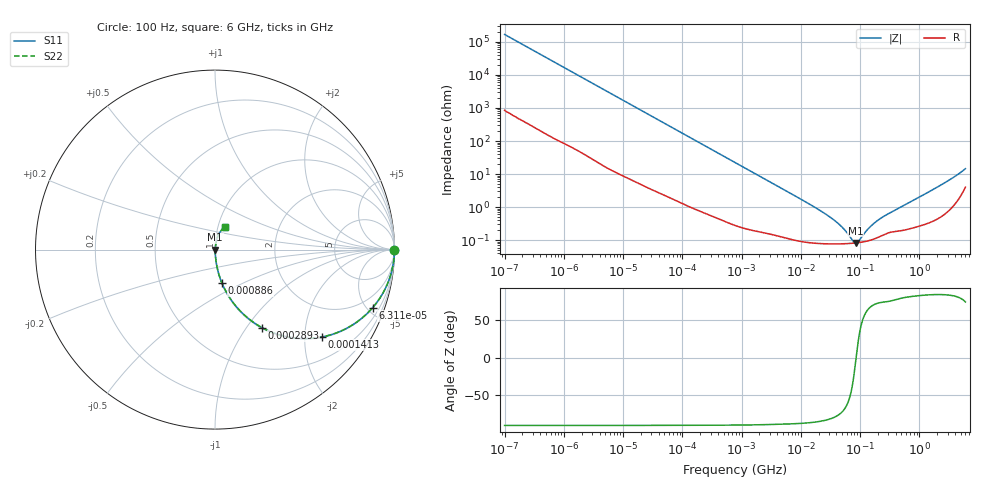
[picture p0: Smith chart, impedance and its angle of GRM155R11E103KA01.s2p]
!Murata Part Number: GRM155R11E103KA01
!These Parameters are Measured in Series Mode Connection
!Data Generated on Mar 30, 2021
!  o--ll--o
!Port1  Port2
!  o------o
!Operation Temp=25[degC], DC Bias Voltage=0[V]
!Freq. Start=100[Hz] Stop=6[GHz] 401[Steps]
# Hz S RI R 50
!Freq.(Hz) S11(Real) S11(Imag) S21(Real) S21(Imag) S12(Real) S12(Imag) S22(Real) S22(Imag)
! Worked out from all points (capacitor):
!   401 points, 100 Hz to 6 GHz, reference 50 ohm
!   read as one part in series: C = 9.51 nF near 109 Hz
!   lowest |Z| = 82.6 mohm at 85.28 MHz (marker M1)
!   series resonance near 85.79 MHz, so ESL is about 360 pH
!   S11 on the Smith chart (normalised r, x): 100 Hz: open; 63.12 kHz: 1.04, -5.41; 141.3 kHz: 1.02, -2.42; 289.3 kHz: 1.01, -1.19; 886 kHz: 1.01, -0.39; 6 GHz: 1.08, +0.28
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100  1 -0.000598  3.4e-06 0.000598  3.4e-06 0.000598  1 -0.000598
2008  0.9998 -0.0119  0.000204 0.0119  0.000204 0.0119  0.9998 -0.0119
12041  0.9946 -0.0706  0.00539 0.0706  0.00539 0.0706  0.9946 -0.0706
40335  0.9456 -0.2236  0.0544 0.2236  0.0544 0.2236  0.9456 -0.2236
63115  0.8779 -0.3239  0.1221 0.3239  0.1221 0.3239  0.8779 -0.3239
141303  0.5942 -0.4871  0.4058 0.4871  0.4058 0.4871  0.5942 -0.4871
289253  0.2629 -0.4354  0.7371 0.4354  0.7371 0.4354  0.2629 -0.4354
452617  0.1292 -0.3301  0.8708 0.3301  0.8708 0.3301  0.1292 -0.3301
774597  0.0498 -0.2113  0.9502 0.2113  0.9502 0.2113  0.0498 -0.2113
885955  0.039 -0.187  0.961 0.187  0.961 0.187  0.039 -0.187
2713602  0.00567 -0.0637  0.9943 0.0637  0.9943 0.0637  0.00567 -0.0637
1.555665e7  0.000943 -0.011  0.9991 0.011  0.9991 0.011  0.000943 -0.011
3.983537e7  0.000783 -0.00349  0.9992 0.00349  0.9992 0.00349  0.000783 -0.00349
5.449875e7  0.000784 -0.00194  0.9992 0.00194  0.9992 0.00194  0.000784 -0.00194
7.455971e7  0.000807 -0.00058  0.9992 0.00058  0.9992 0.00058  0.000807 -0.00058
8.527865e7  0.000825 -2.43e-05  0.9992 2.43e-05  0.9992 2.43e-05  0.000825 -2.43e-05
9.753859e7  0.00085 0.000529  0.9991 -0.000529  0.9991 -0.000529  0.00085 0.000529
1.275994e8  0.00093 0.00167  0.9991 -0.00167  0.9991 -0.00167  0.00093 0.00167
1.669249e8  0.00107 0.0029  0.9989 -0.0029  0.9989 -0.0029  0.00107 0.0029
3.124326e8  0.00174 0.00629  0.9983 -0.00629  0.9983 -0.00629  0.00174 0.00629
1.95892e9  0.00571 0.0386  0.9943 -0.0386  0.9943 -0.0386  0.00571 0.0386
6e9  0.0556 0.127  0.9444 -0.127  0.9444 -0.127  0.0556 0.127
